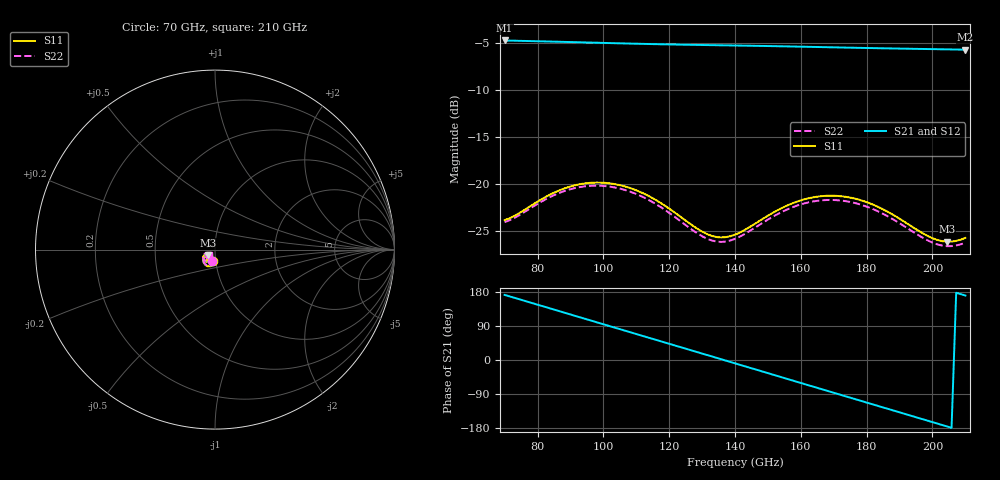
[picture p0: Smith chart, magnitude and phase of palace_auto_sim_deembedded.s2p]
! Created with skrf 1.11.0 (http://scikit-rf.org).
# GHz S DB R 50.0
!freq dBS11 angS11 dBS21 angS21 dBS12 angS12 dBS22 angS22
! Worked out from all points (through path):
!   101 points, 70 GHz to 210 GHz, reference 50 ohm
!   highest |S21| = -4.69 dB at 70 GHz (marker M1); lowest = -5.7 dB at 210 GHz (marker M2)
!   group delay of S21, straight-line fit = 7.18 ps
!   lowest |S11| = -26.2 dB at 204.4 GHz (marker M3), VSWR 1.10, Z = 46.3 - j2.95 ohm
!   |S11| at or under -10 dB: start of sweep to end of sweep
!   |S22| runs from -26.6 to -20.2 dB; largest |S21 - S12| = 6.7e-14
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70  -23.86 -102.5  -4.69 171.8  -4.69 171.8  -24.07 -103.0
75.6  -22.86 -96.6  -4.74 157.4  -4.74 157.4  -23.09 -97.4
81.2  -21.64 -97.2  -4.79 142.9  -4.79 142.9  -21.88 -98.2
88.2  -20.47 -103.7  -4.85 124.8  -4.85 124.8  -20.75 -105.1
93.8  -19.97 -111.2  -4.90 110.3  -4.90 110.3  -20.28 -112.8
99.4  -19.86 -119.5  -4.95 95.9  -4.95 95.9  -20.20 -121.4
105  -20.13 -127.8  -5.00 81.4  -5.00 81.4  -20.49 -129.8
110.6  -20.76 -135.2  -5.05 67.0  -5.05 67.0  -21.16 -137.5
117.6  -22.07 -142.1  -5.10 49.0  -5.10 49.0  -22.51 -144.6
128.8  -24.83 -141.0  -5.17 20.1  -5.17 20.1  -25.32 -143.6
134.4  -25.66 -132.7  -5.20 5.7  -5.20 5.7  -26.15 -135.2
140  -25.41 -123.2  -5.23 -8.8  -5.23 -8.8  -25.86 -125.8
151.2  -23.14 -117.6  -5.30 -37.8  -5.30 -37.8  -23.56 -121.0
158.2  -21.96 -122.4  -5.34 -55.9  -5.34 -55.9  -22.39 -126.2
163.8  -21.42 -128.3  -5.38 -70.4  -5.38 -70.4  -21.86 -132.5
169.4  -21.26 -135.0  -5.42 -84.9  -5.42 -84.9  -21.71 -139.5
175  -21.46 -141.7  -5.46 -99.4  -5.46 -99.4  -21.92 -146.5
180.6  -22.02 -147.6  -5.50 -113.9  -5.50 -113.9  -22.50 -152.6
187.6  -23.20 -152.5  -5.54 -131.9  -5.54 -131.9  -23.69 -157.8
196  -25.05 -151.3  -5.59 -153.6  -5.59 -153.6  -25.52 -157.1
204.4  -26.16 -139.8  -5.64 -175.3  -5.64 -175.3  -26.64 -146.3
210  -25.76 -131.0  -5.68 170.2  -5.68 170.2  -26.27 -138.0
